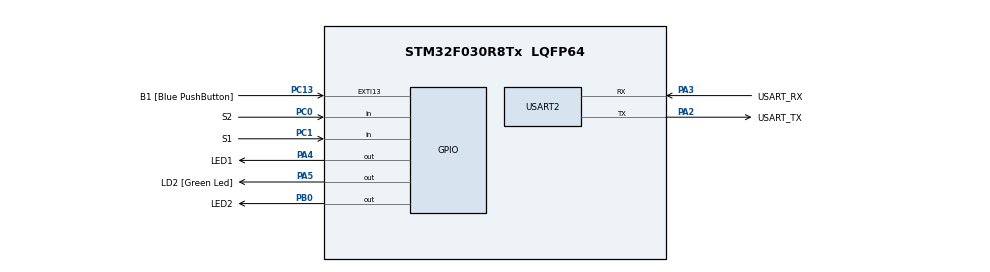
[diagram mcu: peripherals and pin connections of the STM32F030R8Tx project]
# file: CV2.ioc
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Mcu.Family=STM32F0
Mcu.Name=STM32F030R8Tx
Mcu.Package=LQFP64
PA13.GPIO_Label=TMS
PA13.Mode=Serial_Wire
PA13.Signal=SYS_SWDIO
PA14.GPIO_Label=TCK
PA14.Mode=Serial_Wire
PA14.Signal=SYS_SWCLK
PA2.GPIO_Label=USART_TX
PA2.GPIO_Mode=GPIO_MODE_AF_PP
PA2.GPIO_PuPd=GPIO_NOPULL
PA2.GPIO_Speed=GPIO_SPEED_FREQ_LOW
PA2.Mode=Asynchronous
PA2.Signal=USART2_TX
PA3.GPIO_Label=USART_RX
PA3.GPIO_Mode=GPIO_MODE_AF_PP
PA3.GPIO_PuPd=GPIO_NOPULL
PA3.GPIO_Speed=GPIO_SPEED_FREQ_LOW
PA3.Mode=Asynchronous
PA3.Signal=USART2_RX
PA4.GPIO_Label=LED1
PA4.Signal=GPIO_Output
PA5.GPIO_Label=LD2 [Green Led]
PA5.GPIO_Mode=GPIO_MODE_OUTPUT_PP
PA5.GPIO_PuPd=GPIO_NOPULL
PA5.GPIO_Speed=GPIO_SPEED_FREQ_LOW
PA5.Signal=GPIO_Output
PB0.GPIO_Label=LED2
PB0.Signal=GPIO_Output
PC0.GPIO_Label=S2
PC0.GPIO_PuPd=GPIO_PULLUP
PC0.Signal=GPIO_Input
PC1.GPIO_Label=S1
PC1.GPIO_PuPd=GPIO_PULLUP
PC1.Signal=GPIO_Input
PC13.GPIO_Label=B1 [Blue PushButton]
PC13.GPIO_ModeDefaultEXTI=GPIO_MODE_IT_FALLING
PC13.Signal=GPXTI13
PC14-OSC32_IN.Mode=LSE-External-Oscillator
PC14-OSC32_IN.Signal=RCC_OSC32_IN
PC15-OSC32_OUT.Mode=LSE-External-Oscillator
PC15-OSC32_OUT.Signal=RCC_OSC32_OUT
PF0-OSC_IN.Mode=HSE-External-Clock-Source
PF0-OSC_IN.Signal=RCC_OSC_IN
PF1-OSC_OUT.Signal=RCC_OSC_OUT
ProjectManager.HeapSize=0x200
ProjectManager.StackSize=0x400
ProjectManager.TargetToolchain=STM32CubeIDE
RCC.AHBFreq_Value=48000000
RCC.APB1Freq_Value=48000000
RCC.APB1TimFreq_Value=48000000
RCC.HCLKFreq_Value=48000000
RCC.PLLMUL=RCC_PLL_MUL12
RCC.SYSCLKFreq_VALUE=48000000
RCC.SYSCLKSource=RCC_SYSCLKSOURCE_PLLCLK
USART2.VirtualMode-Asynchronous=VM_ASYNC
board=NUCLEO-F030R8

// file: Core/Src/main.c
/* USER CODE BEGIN Header */
/**
  ******************************************************************************
  * @file           : main.c
  * @brief          : Main program body
  ******************************************************************************
  * @attention
  *
  * Copyright (c) 2025 STMicroelectronics.
  * All rights reserved.
  *
  * This software is licensed under terms that can be found in the LICENSE file
  * in the root directory of this software component.
  * If no LICENSE file comes with this software, it is provided AS-IS.
  *
  ******************************************************************************
  */
/* USER CODE END Header */
#include "main.h"

/* USER CODE BEGIN PD */
#define LED_TIME_BLINK 300
#define LED_TIME_BUTTON 5
#define LED_TIME_SHORT 100
#define LED_TIME_LONG 1000
/* USER CODE END PD */

void SystemClock_Config(void);
static void MX_GPIO_Init(void);
static void MX_USART2_UART_Init(void);

/* USER CODE BEGIN 0 */
volatile uint32_t Tick;
void blink(void)
{
	static uint32_t delay;

	if (Tick > delay + LED_TIME_BLINK) {
		LL_GPIO_TogglePin(LED1_GPIO_Port,LED1_Pin);
		delay = Tick;
	}
}

void button(void)
{
	static uint32_t samdelay;
	static uint32_t off_time;

	if (Tick > off_time) {
		LL_GPIO_ResetOutputPin(LED2_GPIO_Port, LED2_Pin);
	}

	if (Tick > samdelay + LED_TIME_BUTTON) {
/*		static uint32_t old_s2;
		uint32_t new_s2 = LL_GPIO_IsInputPinSet(S2_GPIO_Port, S2_Pin);
		if (old_s2 && !new_s2) { // falling edge
			off_time = Tick + LED_TIME_SHORT;
			LL_GPIO_SetOutputPin(LED2_GPIO_Port, LED2_Pin);
		}
		old_s2 = new_s2;

		static uint32_t old_s1;
		uint32_t new_s1 = LL_GPIO_IsInputPinSet(S1_GPIO_Port,S1_Pin);
		if (old_s1 && !new_s1) { // falling edge
			off_time = Tick + LED_TIME_LONG;
			LL_GPIO_SetOutputPin(LED2_GPIO_Port, LED2_Pin);
		}
		old_s1 = new_s1; */

		static uint16_t debounce_s1 = 0xFFFF;
		static uint16_t debounce_s2 = 0xFFFF;

		debounce_s1= (debounce_s1 << 1) | (LL_GPIO_IsInputPinSet(S1_GPIO_Port, S1_Pin) ? 1 : 0);
		debounce_s2= debounce_s2 << 1 |  LL_GPIO_IsInputPinSet(S2_GPIO_Port, S2_Pin);

		if(debounce_s1 == 0x7FFF){
			off_time=Tick + LED_TIME_SHORT;
			LL_GPIO_SetOutputPin(LED2_GPIO_Port, LED2_Pin);
		}
		if(debounce_s2 == 0x7FFF){
			off_time = Tick + LED_TIME_LONG;
			LL_GPIO_SetOutputPin(LED2_GPIO_Port, LED2_Pin);
		}
		samdelay = Tick;

	}
}

/* USER CODE END 0 */

int main(void)
{

  /* MCU Configuration--------------------------------------------------------*/

  /* Reset of all peripherals, Initializes the Flash interface and the Systick. */
  LL_APB1_GRP2_EnableClock(LL_APB1_GRP2_PERIPH_SYSCFG);
  LL_APB1_GRP1_EnableClock(LL_APB1_GRP1_PERIPH_PWR);

  /* Configure the system clock */
  SystemClock_Config();

  /* USER CODE BEGIN SysInit */
  LL_SYSTICK_EnableIT();

  /* USER CODE END SysInit */

  /* Initialize all configured peripherals */
  MX_GPIO_Init();
  MX_USART2_UART_Init();
  /* USER CODE BEGIN 2 */
  LL_SYSTICK_EnableIT();
  /* USER CODE END 2 */

  /* Infinite loop */
  while (1)
  {

    /* USER CODE BEGIN 3 */
  blink();
  button();
  }
  /* USER CODE END 3 */
}

void SystemClock_Config(void)
{
  LL_FLASH_SetLatency(LL_FLASH_LATENCY_1);
  while(LL_FLASH_GetLatency() != LL_FLASH_LATENCY_1)
  {
  }
  LL_RCC_HSI_Enable();

   /* Wait till HSI is ready */
  while(LL_RCC_HSI_IsReady() != 1)
  {

  }
  LL_RCC_HSI_SetCalibTrimming(16);
  LL_RCC_PLL_ConfigDomain_SYS(LL_RCC_PLLSOURCE_HSI_DIV_2, LL_RCC_PLL_MUL_12);
  LL_RCC_PLL_Enable();

   /* Wait till PLL is ready */
  while(LL_RCC_PLL_IsReady() != 1)
  {

  }
  LL_RCC_SetAHBPrescaler(LL_RCC_SYSCLK_DIV_1);
  LL_RCC_SetAPB1Prescaler(LL_RCC_APB1_DIV_1);
  LL_RCC_SetSysClkSource(LL_RCC_SYS_CLKSOURCE_PLL);

   /* Wait till System clock is ready */
  while(LL_RCC_GetSysClkSource() != LL_RCC_SYS_CLKSOURCE_STATUS_PLL)
  {

  }
  LL_Init1msTick(48000000);
  LL_SetSystemCoreClock(48000000);
}

static void MX_USART2_UART_Init(void)
{

  LL_USART_InitTypeDef USART_InitStruct = {0};

  LL_GPIO_InitTypeDef GPIO_InitStruct = {0};

  /* Peripheral clock enable */
  LL_APB1_GRP1_EnableClock(LL_APB1_GRP1_PERIPH_USART2);

  LL_AHB1_GRP1_EnableClock(LL_AHB1_GRP1_PERIPH_GPIOA);
  /**USART2 GPIO Configuration
  PA2   ------> USART2_TX
  PA3   ------> USART2_RX
  */
  GPIO_InitStruct.Pin = USART_TX_Pin;
  GPIO_InitStruct.Mode = LL_GPIO_MODE_ALTERNATE;
  GPIO_InitStruct.Speed = LL_GPIO_SPEED_FREQ_LOW;
  GPIO_InitStruct.OutputType = LL_GPIO_OUTPUT_PUSHPULL;
  GPIO_InitStruct.Pull = LL_GPIO_PULL_NO;
  GPIO_InitStruct.Alternate = LL_GPIO_AF_1;
  LL_GPIO_Init(USART_TX_GPIO_Port, &GPIO_InitStruct);

  GPIO_InitStruct.Pin = USART_RX_Pin;
  GPIO_InitStruct.Mode = LL_GPIO_MODE_ALTERNATE;
  GPIO_InitStruct.Speed = LL_GPIO_SPEED_FREQ_LOW;
  GPIO_InitStruct.OutputType = LL_GPIO_OUTPUT_PUSHPULL;
  GPIO_InitStruct.Pull = LL_GPIO_PULL_NO;
  GPIO_InitStruct.Alternate = LL_GPIO_AF_1;
  LL_GPIO_Init(USART_RX_GPIO_Port, &GPIO_InitStruct);

  USART_InitStruct.BaudRate = 38400;
  USART_InitStruct.DataWidth = LL_USART_DATAWIDTH_8B;
  USART_InitStruct.StopBits = LL_USART_STOPBITS_1;
  USART_InitStruct.Parity = LL_USART_PARITY_NONE;
  USART_InitStruct.TransferDirection = LL_USART_DIRECTION_TX_RX;
  USART_InitStruct.HardwareFlowControl = LL_USART_HWCONTROL_NONE;
  USART_InitStruct.OverSampling = LL_USART_OVERSAMPLING_16;
  LL_USART_Init(USART2, &USART_InitStruct);
  LL_USART_DisableIT_CTS(USART2);
  LL_USART_ConfigAsyncMode(USART2);
  LL_USART_Enable(USART2);

}

static void MX_GPIO_Init(void)
{
  LL_EXTI_InitTypeDef EXTI_InitStruct = {0};
  LL_GPIO_InitTypeDef GPIO_InitStruct = {0};

  /* GPIO Ports Clock Enable */
  LL_AHB1_GRP1_EnableClock(LL_AHB1_GRP1_PERIPH_GPIOC);
  LL_AHB1_GRP1_EnableClock(LL_AHB1_GRP1_PERIPH_GPIOF);
  LL_AHB1_GRP1_EnableClock(LL_AHB1_GRP1_PERIPH_GPIOA);
  LL_AHB1_GRP1_EnableClock(LL_AHB1_GRP1_PERIPH_GPIOB);

  /**/
  LL_GPIO_ResetOutputPin(LED1_GPIO_Port, LED1_Pin);

  /**/
  LL_GPIO_ResetOutputPin(LD2_GPIO_Port, LD2_Pin);

  /**/
  LL_GPIO_ResetOutputPin(LED2_GPIO_Port, LED2_Pin);

  /**/
  LL_SYSCFG_SetEXTISource(LL_SYSCFG_EXTI_PORTC, LL_SYSCFG_EXTI_LINE13);

  /**/
  LL_GPIO_SetPinPull(B1_GPIO_Port, B1_Pin, LL_GPIO_PULL_NO);

  /**/
  LL_GPIO_SetPinMode(B1_GPIO_Port, B1_Pin, LL_GPIO_MODE_INPUT);

  /**/
  EXTI_InitStruct.Line_0_31 = LL_EXTI_LINE_13;
  EXTI_InitStruct.LineCommand = ENABLE;
  EXTI_InitStruct.Mode = LL_EXTI_MODE_IT;
  EXTI_InitStruct.Trigger = LL_EXTI_TRIGGER_FALLING;
  LL_EXTI_Init(&EXTI_InitStruct);

  /**/
  GPIO_InitStruct.Pin = S2_Pin;
  GPIO_InitStruct.Mode = LL_GPIO_MODE_INPUT;
  GPIO_InitStruct.Pull = LL_GPIO_PULL_UP;
  LL_GPIO_Init(S2_GPIO_Port, &GPIO_InitStruct);

  /**/
  GPIO_InitStruct.Pin = S1_Pin;
  GPIO_InitStruct.Mode = LL_GPIO_MODE_INPUT;
  GPIO_InitStruct.Pull = LL_GPIO_PULL_UP;
  LL_GPIO_Init(S1_GPIO_Port, &GPIO_InitStruct);

  /**/
  GPIO_InitStruct.Pin = LED1_Pin;
  GPIO_InitStruct.Mode = LL_GPIO_MODE_OUTPUT;
  GPIO_InitStruct.Speed = LL_GPIO_SPEED_FREQ_LOW;
  GPIO_InitStruct.OutputType = LL_GPIO_OUTPUT_PUSHPULL;
  GPIO_InitStruct.Pull = LL_GPIO_PULL_NO;
  LL_GPIO_Init(LED1_GPIO_Port, &GPIO_InitStruct);

  /**/
  GPIO_InitStruct.Pin = LD2_Pin;
  GPIO_InitStruct.Mode = LL_GPIO_MODE_OUTPUT;
  GPIO_InitStruct.Speed = LL_GPIO_SPEED_FREQ_LOW;
  GPIO_InitStruct.OutputType = LL_GPIO_OUTPUT_PUSHPULL;
  GPIO_InitStruct.Pull = LL_GPIO_PULL_NO;
  LL_GPIO_Init(LD2_GPIO_Port, &GPIO_InitStruct);

  /**/
  GPIO_InitStruct.Pin = LED2_Pin;
  GPIO_InitStruct.Mode = LL_GPIO_MODE_OUTPUT;
  GPIO_InitStruct.Speed = LL_GPIO_SPEED_FREQ_LOW;
  GPIO_InitStruct.OutputType = LL_GPIO_OUTPUT_PUSHPULL;
  GPIO_InitStruct.Pull = LL_GPIO_PULL_NO;
  LL_GPIO_Init(LED2_GPIO_Port, &GPIO_InitStruct);

}

void Error_Handler(void)
{
  __disable_irq();
  while (1)
  {
  }
}
